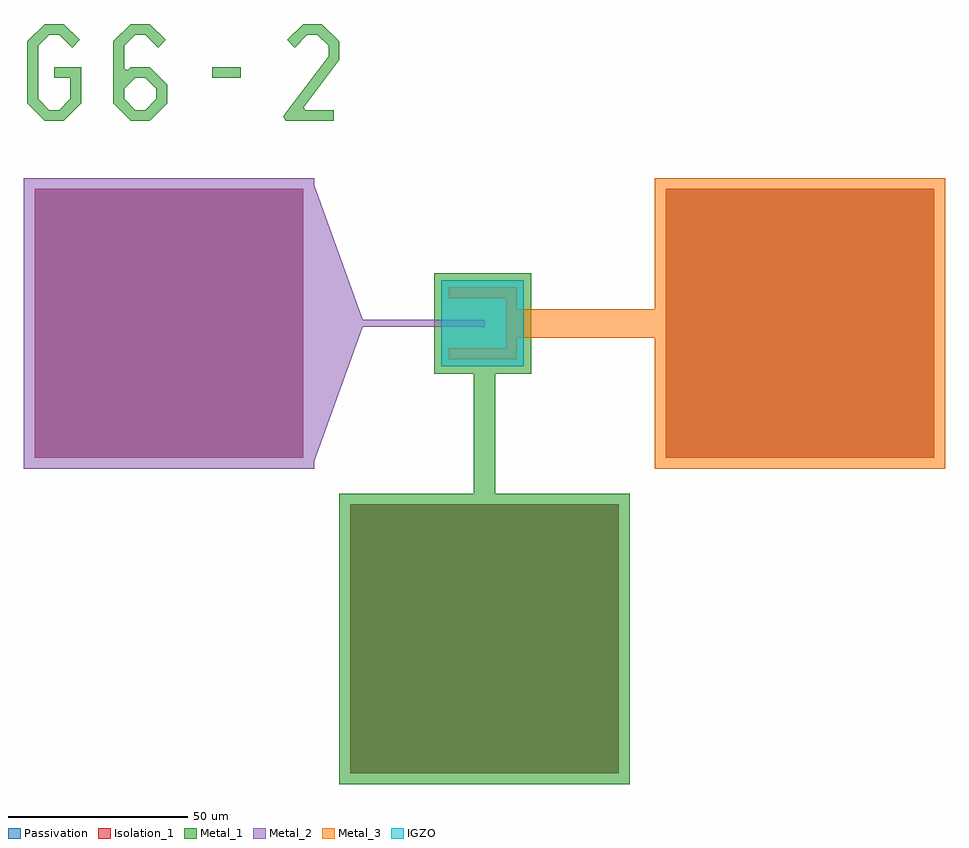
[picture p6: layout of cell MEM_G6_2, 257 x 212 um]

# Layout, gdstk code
import gdstk
lib = gdstk.Library(unit=1e-6, precision=1e-09)
def R(c, l, rs):  # rectangles x0, y0, x1, y1
    for r in rs: c.add(gdstk.rectangle(r[:2], r[2:], *l))
def P(c, l, *ps):  # polygons
    for p in ps: c.add(gdstk.Polygon(p, *l))
Metal_1 = (1, 0)
Isolation_1 = (2, 0)
Metal_2 = (3, 0)
IGZO = (4, 0)
Metal_3 = (5, 0)
Passivation = (6, 0)

mem_g6_2 = lib.new_cell('MEM_G6_2')
R(mem_g6_2, Metal_1, [(87.5,-0.5,168.5,80.5), (52,196.5,60,199.5)])
P(mem_g6_2, Metal_1, [(72.499,184.5),(71.9,185.7),(84.5,202.5),(84.5,205.378),(81.378,208.5),(78.622,208.5),(75.061,204.939),(72.939,207.061),(77.378,211.5),(82.622,211.5),(87.5,206.622),(87.5,201.5),(77.6,188.3),(78,187.5),(86,187.5),(86,184.5)],
  [(29.378,184.5),(24.5,189.378),(24.5,196.5),(30.622,196.5),(27.5,193.378),(27.5,190.622),(30.622,187.5),(33.378,187.5),(36.5,190.622),(36.5,193.378),(33.378,196.5),(24.5,196.5),(24.5,206.622),(29.378,211.5),(34.622,211.5),(39.061,207.061),(36.939,204.939),(33.378,208.5),(30.622,208.5),(27.5,205.378),(27.5,199.036),(28.5,198.622),(29.378,199.5),(34.622,199.5),(39.5,194.622),(39.5,189.378),(34.622,184.5)],
  [(5.378,184.5),(0.5,189.378),(0.5,206.622),(5.378,211.5),(10.622,211.5),(15.061,207.061),(12.939,204.939),(9.378,208.5),(6.622,208.5),(3.5,205.378),(3.5,190.622),(6.622,187.5),(9.378,187.5),(12.5,190.622),(12.5,196.5),(8,196.5),(8,199.5),(15.5,199.5),(15.5,189.378),(10.622,184.5)],
  [(88,0),(88,80),(125,80),(125,114),(114,114),(114,142),(141,142),(141,114),(131,114),(131,80),(168,80),(168,0)])
R(mem_g6_2, Isolation_1, [(90.5,2.5,165.5,77.5), (2.5,90.5,77.5,165.5), (178.5,90.5,253.5,165.5)])
R(mem_g6_2, Metal_2, [(-0.5,87.5,80.5,168.5), (0,88,80,168)])
P(mem_g6_2, Metal_2, [(80,88),(80,168),(94,129),(128,129),(128,127),(94,127)])
R(mem_g6_2, IGZO, [(116,116,139,140)])
R(mem_g6_2, Metal_3, [(175.5,87.5,256.5,168.5)])
P(mem_g6_2, Metal_3, [(176,88),(176,124),(137,124),(137,118),(118,118),(118,121),(134,121),(134,135),(118,135),(118,138),(137,138),(137,132),(176,132),(176,168),(256,168),(256,88)])
R(mem_g6_2, Passivation, [(90.5,2.5,165.5,77.5), (2.5,90.5,77.5,165.5), (178.5,90.5,253.5,165.5)])

lib.write_gds('MEM_G6_2.gds')
